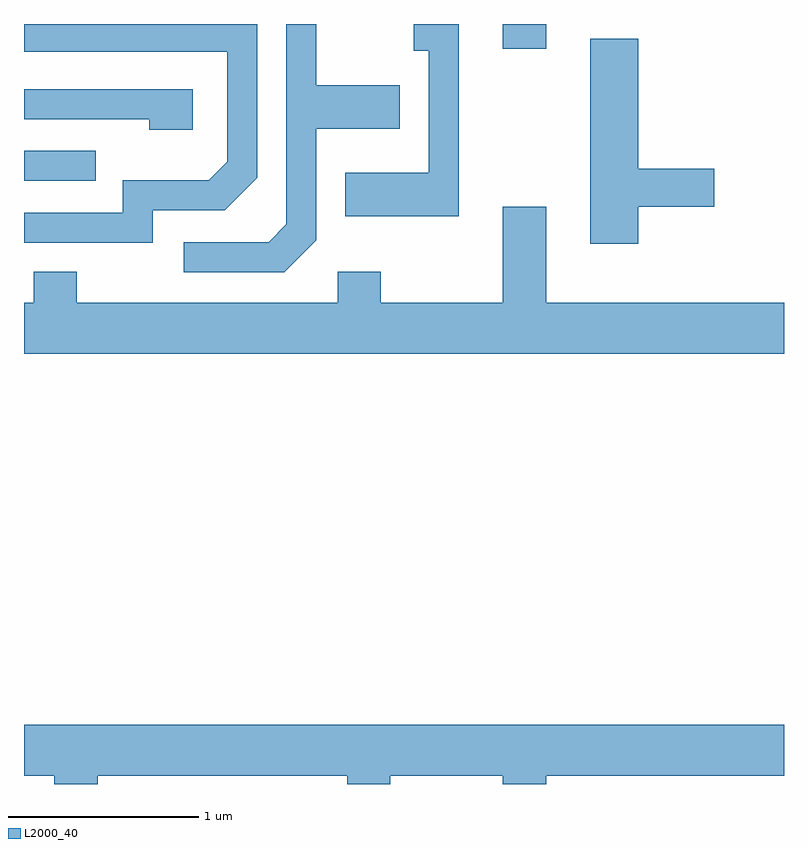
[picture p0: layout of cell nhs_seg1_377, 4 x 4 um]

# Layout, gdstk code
import gdstk
lib = gdstk.Library(unit=1e-6, precision=1e-09)
def R(c, l, rs):  # rectangles x0, y0, x1, y1
    for r in rs: c.add(gdstk.rectangle(r[:2], r[2:], *l))
def P(c, l, *ps):  # polygons
    for p in ps: c.add(gdstk.Polygon(p, *l))
L2000_40 = (2000, 40)

nhs_seg1_377 = lib.new_cell('nhs_seg1_377')
R(nhs_seg1_377, L2000_40, [(195.611,944.886,195.988,945.044), (198.131,945.581,198.359,945.712)])
P(nhs_seg1_377, L2000_40, [(196.289,944.731),(196.667,944.731),(196.839,944.904),(196.839,945.712),(195.611,945.712),(195.611,945.566),(196.681,945.566),(196.681,944.987),(196.584,944.889),(196.131,944.889),(196.131,944.719),(195.611,944.719),(195.611,944.561),(196.289,944.561)],
  [(197.899,945.712),(197.663,945.712),(197.663,945.571),(197.741,945.571),(197.741,944.929),(197.301,944.929),(197.301,944.701),(197.899,944.701)],
  [(197.149,944.574),(197.149,945.161),(197.589,945.161),(197.589,945.389),(197.149,945.389),(197.149,945.712),(196.991,945.712),(196.991,944.657),(196.899,944.564),(196.453,944.564),(196.453,944.406),(196.982,944.406)],
  [(198.844,944.751),(199.244,944.751),(199.244,944.949),(198.844,944.949),(198.844,945.634),(198.591,945.634),(198.591,944.556),(198.844,944.556)],
  [(196.499,945.369),(195.611,945.369),(195.611,945.211),(196.271,945.211),(196.271,945.156),(196.499,945.156)],
  [(199.611,944.244),(198.359,944.244),(198.359,944.749),(198.131,944.749),(198.131,944.244),(197.489,944.244),(197.489,944.409),(197.261,944.409),(197.261,944.244),(195.889,944.244),(195.889,944.409),(195.661,944.409),(195.661,944.244),(195.611,944.244),(195.611,943.976),(199.611,943.976)],
  [(195.999,941.756),(197.311,941.756),(197.311,941.712),(197.539,941.712),(197.539,941.756),(198.131,941.756),(198.131,941.712),(198.359,941.712),(198.359,941.756),(199.611,941.756),(199.611,942.024),(195.611,942.024),(195.611,941.756),(195.771,941.756),(195.771,941.712),(195.999,941.712)])

lib.write_gds('nhs_seg1_377.gds')
